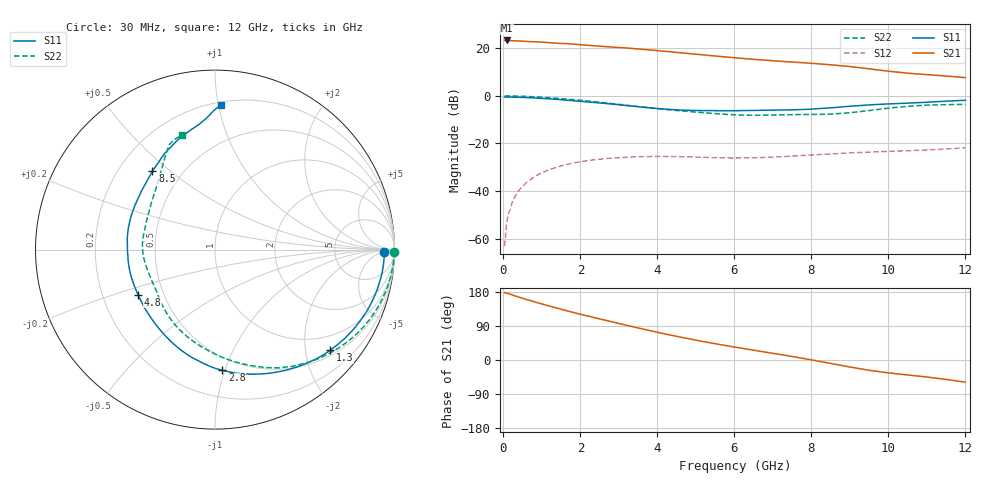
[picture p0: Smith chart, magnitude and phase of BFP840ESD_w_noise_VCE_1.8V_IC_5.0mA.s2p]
! Infineon Technologies  Discrete & RF Semiconductors
! BFP840ESD
! VCE =  1.8 V,  IC =  5.0 mA
! Common Emitter S-Parameters:  May 2012
# GHz  S  MA  R  50
!  f  S11  S21  S12  S22
! GHz  MAG  ANG  MAG  ANG  MAG  ANG  MAG  ANG
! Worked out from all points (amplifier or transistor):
!   93 points, 30 MHz to 12 GHz, reference 50 ohm
!   highest |S21| = 23.2 dB at 80 MHz (marker M1)
!   |S21| within 3 dB of that: start of sweep to 3.034 GHz
!   unconditionally stable (mu >= 1): 6.083 GHz to 10.21 GHz
!   at 1.1 GHz: K = 0.18, MSG = 27.0 dB, |S12| = -31.5 dB
!   at 4.2 GHz: K = 0.60, MSG = 22.1 dB, |S12| = -25.4 dB
!   at 12 GHz: K = 0.68, MSG = 14.7 dB, |S12| = -21.8 dB
!   lowest NFmin = 0.60 dB at 450 MHz
!   S11 on the Smith chart (normalised r, x): 30 MHz: 32, -9; 1.3 GHz: 0.62, -2.53; 2.8 GHz: 0.40, -0.98; 4.8 GHz: 0.36, -0.24; 8.5 GHz: 0.34, +0.44; 12 GHz: 0.22, +1.01
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0.03  0.944 -0.9  14.52 178.0  0.0007 84.8  0.9959 -0.7
0.08  0.9434 -2.6  14.53 176.5  0.0021 80.6  0.9972 -2.2
0.23  0.9402 -7.5  14.36 171.7  0.0059 84.5  0.9935 -6.4
0.38  0.9331 -12.3  14.16 166.6  0.0099 79.0  0.9867 -10.5
0.8  0.9024 -25.7  13.7 153.7  0.02 69.8  0.9543 -21.8
1  0.8835 -32.0  13.39 147.9  0.0242 65.3  0.9342 -27.1
1.3  0.852 -41.2  12.88 139.4  0.0302 58.7  0.8989 -34.8
1.7  0.8032 -53.6  12.37 128.4  0.0371 50.6  0.8467 -44.7
2.1  0.7556 -65.5  11.67 118.2  0.0426 42.9  0.7917 -54.3
2.8  0.6732 -86.5  10.6 101.2  0.0491 31.5  0.6901 -70.5
3.3  0.6142 -102.2  9.943 89.1  0.0519 24.3  0.621 -82.4
3.7  0.5702 -114.8  9.342 79.9  0.0532 19.4  0.5711 -92.3
4.1  0.5334 -127.8  8.737 70.9  0.0535 15.0  0.5283 -102.5
4.8  0.4972 -149.7  7.744 56.4  0.0524 9.2  0.4697 -119.3
5.3  0.49 -163.7  7.1 46.6  0.0511 7.0  0.4365 -130.2
6.1  0.4881 177.9  6.21 32.6  0.0497 6.6  0.3971 -147.4
7.5  0.5101 150.9  5.125 9.2  0.0544 8.0  0.4027 -178.4
8.5  0.5594 128.5  4.491 -9.0  0.0603 5.8  0.4132 157.5
9  0.6041 117.8  4.119 -18.5  0.0637 3.4  0.4419 143.0
9.5  0.6452 108.8  3.684 -27.1  0.0657 1.0  0.4914 130.3
10.5  0.7028 97.3  2.99 -39.5  0.0704 -3.2  0.6007 117.0
12  0.806 87.8  2.411 -58.5  0.0811 -8.8  0.6637 106.2
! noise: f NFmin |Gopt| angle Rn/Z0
0.45  0.6  0.49  2  0.2
0.9  0.6  0.49  5  0.19
1.5  0.64  0.48  14  0.17
1.9  0.67  0.46  18  0.16
2.4  0.68  0.41  30  0.15
3.5  0.72  0.3  57  0.12
5.5  0.84  0.21  119  0.1
8  1.02  0.35  -145  0.07
10  1.19  0.5  -102  0.16
12  1.42  0.59  -79  0.26
